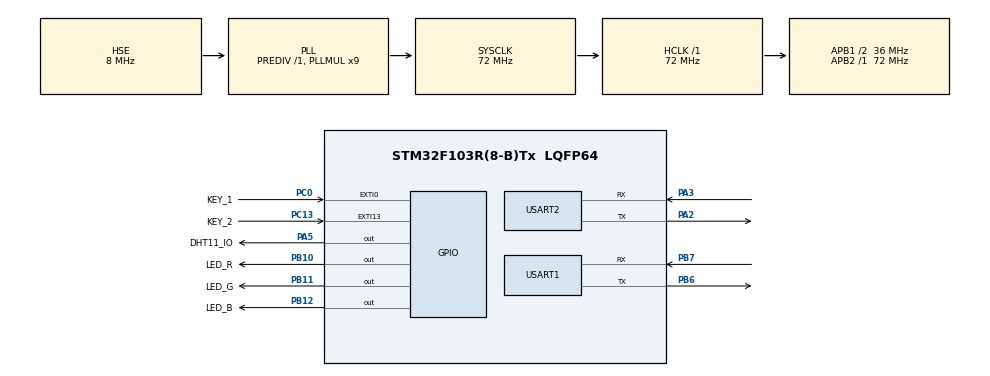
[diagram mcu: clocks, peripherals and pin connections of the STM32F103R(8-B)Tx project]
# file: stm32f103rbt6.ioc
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Mcu.Family=STM32F1
Mcu.Name=STM32F103R(8-B)Tx
Mcu.Package=LQFP64
NVIC.EXTI0_IRQn=true\:5\:0\:true\:false\:true\:true\:true\:true
NVIC.EXTI15_10_IRQn=true\:5\:0\:true\:false\:true\:true\:true\:true
NVIC.PriorityGroup=NVIC_PRIORITYGROUP_4
NVIC.USART2_IRQn=true\:3\:0\:true\:false\:true\:true\:true\:true
PA13.Mode=Serial_Wire
PA13.Signal=SYS_JTMS-SWDIO
PA14.Mode=Serial_Wire
PA14.Signal=SYS_JTCK-SWCLK
PA2.Mode=Asynchronous
PA2.Signal=USART2_TX
PA3.Mode=Asynchronous
PA3.Signal=USART2_RX
PA5.GPIO_Label=DHT11_IO
PA5.GPIO_PuPd=GPIO_PULLDOWN
PA5.GPIO_Speed=GPIO_SPEED_FREQ_HIGH
PA5.Signal=GPIO_Output
PB10.GPIO_Label=LED_R
PB10.GPIO_PuPd=GPIO_PULLUP
PB10.GPIO_Speed=GPIO_SPEED_FREQ_MEDIUM
PB10.PinState=GPIO_PIN_SET
PB10.Signal=GPIO_Output
PB11.GPIO_Label=LED_G
PB11.GPIO_PuPd=GPIO_PULLUP
PB11.GPIO_Speed=GPIO_SPEED_FREQ_MEDIUM
PB11.PinState=GPIO_PIN_SET
PB11.Signal=GPIO_Output
PB12.GPIO_Label=LED_B
PB12.GPIO_PuPd=GPIO_PULLUP
PB12.GPIO_Speed=GPIO_SPEED_FREQ_MEDIUM
PB12.PinState=GPIO_PIN_SET
PB12.Signal=GPIO_Output
PB6.Mode=Asynchronous
PB6.Signal=USART1_TX
PB7.Mode=Asynchronous
PB7.Signal=USART1_RX
PC0.GPIO_Label=KEY_1
PC0.GPIO_PuPd=GPIO_PULLDOWN
PC0.Signal=GPXTI0
PC13-TAMPER-RTC.GPIO_Label=KEY_2
PC13-TAMPER-RTC.GPIO_PuPd=GPIO_PULLDOWN
PC13-TAMPER-RTC.Signal=GPXTI13
PD0-OSC_IN.Mode=HSE-External-Oscillator
PD0-OSC_IN.Signal=RCC_OSC_IN
PD1-OSC_OUT.Mode=HSE-External-Oscillator
PD1-OSC_OUT.Signal=RCC_OSC_OUT
ProjectManager.HeapSize=0x200
ProjectManager.StackSize=0x400
ProjectManager.TargetToolchain=STM32CubeIDE
RCC.AHBFreq_Value=72000000
RCC.APB1CLKDivider=RCC_HCLK_DIV2
RCC.APB1Freq_Value=36000000
RCC.APB1TimFreq_Value=72000000
RCC.APB2Freq_Value=72000000
RCC.APB2TimFreq_Value=72000000
RCC.HCLKFreq_Value=72000000
RCC.PLLMUL=RCC_PLL_MUL9
RCC.PLLSourceVirtual=RCC_PLLSOURCE_HSE
RCC.SYSCLKFreq_VALUE=72000000
RCC.SYSCLKSource=RCC_SYSCLKSOURCE_PLLCLK
RCC.USBFreq_Value=72000000
TIM1.Prescaler=719
USART1.VirtualMode=VM_ASYNC
USART2.VirtualMode=VM_ASYNC
VP_TIM1_VS_ClockSourceINT.Mode=Internal
board=custom

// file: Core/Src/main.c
/* USER CODE BEGIN Header */
/**
  ******************************************************************************
  * @file           : main.c
  * @brief          : Main program body
  ******************************************************************************
  * @attention
  *
  * Copyright (c) 2022 STMicroelectronics.
  * All rights reserved.
  *
  * This software is licensed under terms that can be found in the LICENSE file
  * in the root directory of this software component.
  * If no LICENSE file comes with this software, it is provided AS-IS.
  *
  ******************************************************************************
  */
/* USER CODE END Header */
#include "main.h"
#include "tim.h"
#include "usart.h"
#include "gpio.h"

/* USER CODE BEGIN Includes */
#include "hal_temp_hum.h"
#include "esp8266_at.h"
#include "esp8266_mqtt.h"
#include <stdio.h>
/* USER CODE END Includes */

/* USER CODE BEGIN PD */
#define USER_MAIN_DEBUG

#ifdef USER_MAIN_DEBUG
#define user_main_printf(format, ...) printf( format "\r\n",##__VA_ARGS__)
#define user_main_info(format, ...) printf("【main】info:" format "\r\n",##__VA_ARGS__)
#define user_main_debug(format, ...) printf("【main】debug:" format "\r\n",##__VA_ARGS__)
#define user_main_error(format, ...) printf("【main】error:" format "\r\n",##__VA_ARGS__)
#else
#define user_main_printf(format, ...)
#define user_main_info(format, ...)
#define user_main_debug(format, ...)
#define user_main_error(format, ...)
#endif

//НАСТРОЙКИ В СООТВЕТСТВИИ С ВАШИМ WIFI
#define WIFI_NAME "HappyOneDay"
#define WIFI_PASSWD "1234567890"

//КОНИФГУРАЦИЯ ВХОДА В ОБЛАЧНЫЙ СЕРВЕР
#define MQTT_BROKERADDRESS "a1lAoazdH1w.iot-as-mqtt.cn-shanghai.aliyuncs.com"
#define MQTT_CLIENTID "00001|securemode=3,signmethod=hmacsha1|"
#define MQTT_USARNAME "BZL01&a1lAoazdH1w"
#define MQTT_PASSWD "51A5BB10306E976D6C980F73037F2D9496D2813A"
#define	MQTT_PUBLISH_TOPIC "/sys/a1lAoazdH1w/BZL01/thing/event/property/post"
#define MQTT_SUBSCRIBE_TOPIC "/sys/a1lAoazdH1w/BZL01/thing/service/property/set"

//ОПРЕДЕЛЕНИЕ МАКРОСА ЗАДЕРЖКИ ДЛЯ ОПЕРАЦИИ ОСНОВНОГО ЦИКЛА
#define LOOPTIME 30 	//ПРОГРАММНЫЙ ЦИКЛ ВРЕМЯ ЗАДЕРЖКИ：30ms
#define COUNTER_LEDBLINK			(300/LOOPTIME)		//ВРЕМЯ РАБОТЫ СВЕТОДИОДА, ВРЕМЯ МИГАНИЯ：300ms
#define COUNTER_RUNINFOSEND		(5000/LOOPTIME)		//ЗАПРОС НА ЗАПУСК ПОСЛЕДОВАТЕЛЬНОГО ПОРТА：5s
#define COUNTER_MQTTHEART     (5000/LOOPTIME)		//MQTT ОТПРАВКА ПАКЕТА ПРОВЕРКИ：5s
#define COUNTER_STATUSREPORT	(3000/LOOPTIME)		//ЗАГРУЗКА СТАТУСА：3s
/* USER CODE END PD */

/* USER CODE BEGIN PV */
char mqtt_message[300];	//КЭШ СООБЩЕНИЙ ОТЧЕТА MQTT
/* USER CODE END PV */

void SystemClock_Config(void);
/* USER CODE BEGIN PFP */
void Enter_ErrorMode(uint8_t mode);
void ES8266_MQTT_Init(void);
void Change_LED_Status(void);
void STM32DHT11_StatusReport(void);
void deal_MQTT_message(uint8_t* buf,uint16_t len);
/* USER CODE END PFP */

int main(void)
{

  /* MCU Configuration--------------------------------------------------------*/

  /* Reset of all peripherals, Initializes the Flash interface and the Systick. */
  HAL_Init();

  /* Configure the system clock */
  SystemClock_Config();

  /* Initialize all configured peripherals */
  MX_GPIO_Init();
  MX_USART1_UART_Init();
  MX_USART2_UART_Init();
  MX_TIM1_Init();
  /* USER CODE BEGIN 2 */
	HAL_UART_Receive_IT(&huart2,usart2_rxone,1);			//ОТКРОЙТЕ ПРЕРЫВАНИЙ USART1 И ПОЛУЧИТЕ СООБЩЕНИЕ О ПОДПИСКЕ
	ES8266_MQTT_Init();										//ИНИЦИАЛИЗИРОВАТЬ MQTT
  /* USER CODE END 2 */

  /* Infinite loop */
  /* USER CODE BEGIN WHILE */
	uint16_t Counter_RUNInfo_Send = 0;
	uint16_t Counter_StatusReport = 0;
  while (1)
  {
    /* USER CODE END WHILE */

    /* USER CODE BEGIN 3 */
	  //ПЕЧАТЬ ТЕКУЩЕГО СОСТОЯНИЯ
	  		if(Counter_RUNInfo_Send++>COUNTER_RUNINFOSEND)
	  		{
	  			Counter_RUNInfo_Send = 0;
	  			user_main_info("ПРОГРАММА ЗАПУЩЕНА！\r\n");
	  		}
	  		//ОТЧЕТ О МЕСТНОМ СТАТУСЕ
	  			if(Counter_StatusReport++>COUNTER_STATUSREPORT)
	  			{
	  				Counter_StatusReport = 0;
	  				STM32DHT11_StatusReport();
	  			}

	  			//ЕСЛИ В ПРИНИМАЮЩЕМ КЭШЕ ЕСТЬ ДАННЫЕ
	  			if(usart2_rxcounter)
	  			{
	  				deal_MQTT_message(usart2_rxbuf,usart2_rxcounter);
	  			}

	  			HAL_Delay(LOOPTIME);

  }
  /* USER CODE END 3 */
}

void SystemClock_Config(void)
{
  RCC_OscInitTypeDef RCC_OscInitStruct = {0};
  RCC_ClkInitTypeDef RCC_ClkInitStruct = {0};

  /** Initializes the RCC Oscillators according to the specified parameters
  * in the RCC_OscInitTypeDef structure.
  */
  RCC_OscInitStruct.OscillatorType = RCC_OSCILLATORTYPE_HSE;
  RCC_OscInitStruct.HSEState = RCC_HSE_ON;
  RCC_OscInitStruct.HSEPredivValue = RCC_HSE_PREDIV_DIV1;
  RCC_OscInitStruct.HSIState = RCC_HSI_ON;
  RCC_OscInitStruct.PLL.PLLState = RCC_PLL_ON;
  RCC_OscInitStruct.PLL.PLLSource = RCC_PLLSOURCE_HSE;
  RCC_OscInitStruct.PLL.PLLMUL = RCC_PLL_MUL9;
  if (HAL_RCC_OscConfig(&RCC_OscInitStruct) != HAL_OK)
  {
    Error_Handler();
  }

  /** Initializes the CPU, AHB and APB buses clocks
  */
  RCC_ClkInitStruct.ClockType = RCC_CLOCKTYPE_HCLK|RCC_CLOCKTYPE_SYSCLK
                              |RCC_CLOCKTYPE_PCLK1|RCC_CLOCKTYPE_PCLK2;
  RCC_ClkInitStruct.SYSCLKSource = RCC_SYSCLKSOURCE_PLLCLK;
  RCC_ClkInitStruct.AHBCLKDivider = RCC_SYSCLK_DIV1;
  RCC_ClkInitStruct.APB1CLKDivider = RCC_HCLK_DIV2;
  RCC_ClkInitStruct.APB2CLKDivider = RCC_HCLK_DIV1;

  if (HAL_RCC_ClockConfig(&RCC_ClkInitStruct, FLASH_LATENCY_2) != HAL_OK)
  {
    Error_Handler();
  }
}

/* USER CODE BEGIN 4 */
/******************************  USART2 ПОЛУЧАЕТ КОД ПРЕРЫВАНИЯ  *****************************/

// ПОСЛЕДОВАТЕЛЬНЫЙ ПОРТ ДРАЙВЕРА ESP8266 ПОЛУЧАЕТ ФУНКЦИЮ ОБРАБОТКИ ПРЕРЫВАНИЙ
void HAL_UART_RxCpltCallback(UART_HandleTypeDef *huart)
{
	if(huart->Instance == USART2)	// ОПРЕДЕЛЕНИЕ, КАКОЙ ПОСЛЕДОВАТЕЛЬНЫЙ ПОРТ ВЫЗВАЛ ПРЕРЫВАНИЕ
	{
		//ПОМЕСТИТЬ ПОЛУЧЕННЫЕ ДАННЫЕ В ПРИНИМАЮЩИЙ МАССИВ USART1 RECEIVING
		usart2_rxbuf[usart2_rxcounter] = usart2_rxone[0];
		usart2_rxcounter++;	//ПОЛУЧЕННОЕ КОЛИЧЕСТВО＋1

		//ПОВТОРНОЕ ВКЛЮЧЕНИЕ ПОСЛЕДОВАТЕЛЬНОГО ПОРТА 1 ДЛЯ ПРИЕМА ПРЕРЫВАНИЙ
		HAL_UART_Receive_IT(&huart2,usart2_rxone,1);
	}
}

/******************************  КЛЮЧЕВОЙ КОД ПРЕРЫВАНИЙ  *****************************/

//КЛАВИША 1, НАЖМИТЕ, ЧТОБЫ ВЫПОЛНИТЬ ФУНКЦИЮ
void KEY1_Pressed(void)
{
	user_main_debug("НАЖАТИЕ KEY_1\r\n");
	Change_LED_Status();
}

//КЛАВИША 2, НАЖМИТЕ, ЧТОБЫ ВЫПОЛНИТЬ ФУНКЦИЮ
void KEY2_Pressed(void)
{
	user_main_debug("НАЖАТИЕ KEY_2\r\n");
}

//КЛЮЧЕВАЯ ФУНКЦИЯ ОБРАБОТКИ ПРЕРЫВАНИЙ
void HAL_GPIO_EXTI_Callback(uint16_t GPIO_Pin)
{
    switch(GPIO_Pin)
    {
        case KEY_1_Pin:KEY1_Pressed();break;
        case KEY_2_Pin:KEY2_Pressed();break;
        default:break;
    }
}

//ИЗМЕНЕНИЯ СОСТОЯНИЙ СВЕТОДИОДНОЙ ПОДСВЕТКИ
void Change_LED_Status(void)
{
	static uint8_t ledstatus = 0;

	switch(ledstatus++)
	{
		case 0://000
			HAL_GPIO_WritePin(LED_R_GPIO_Port,LED_R_Pin,GPIO_PIN_RESET);
			HAL_GPIO_WritePin(LED_G_GPIO_Port,LED_G_Pin,GPIO_PIN_RESET);
			HAL_GPIO_WritePin(LED_B_GPIO_Port,LED_B_Pin,GPIO_PIN_RESET);
		break;
		case 1://001
			HAL_GPIO_WritePin(LED_R_GPIO_Port,LED_R_Pin,GPIO_PIN_RESET);
			HAL_GPIO_WritePin(LED_G_GPIO_Port,LED_G_Pin,GPIO_PIN_RESET);
			HAL_GPIO_WritePin(LED_B_GPIO_Port,LED_B_Pin,GPIO_PIN_SET);
		break;
		case 2://010
			HAL_GPIO_WritePin(LED_R_GPIO_Port,LED_R_Pin,GPIO_PIN_RESET);
			HAL_GPIO_WritePin(LED_G_GPIO_Port,LED_G_Pin,GPIO_PIN_SET);
			HAL_GPIO_WritePin(LED_B_GPIO_Port,LED_B_Pin,GPIO_PIN_RESET);
		break;
		case 3://011
			HAL_GPIO_WritePin(LED_R_GPIO_Port,LED_R_Pin,GPIO_PIN_RESET);
			HAL_GPIO_WritePin(LED_G_GPIO_Port,LED_G_Pin,GPIO_PIN_SET);
			HAL_GPIO_WritePin(LED_B_GPIO_Port,LED_B_Pin,GPIO_PIN_SET);
		break;
		case 4://100
			HAL_GPIO_WritePin(LED_R_GPIO_Port,LED_R_Pin,GPIO_PIN_SET);
			HAL_GPIO_WritePin(LED_G_GPIO_Port,LED_G_Pin,GPIO_PIN_RESET);
			HAL_GPIO_WritePin(LED_B_GPIO_Port,LED_B_Pin,GPIO_PIN_RESET);
		break;
		case 5://101
			HAL_GPIO_WritePin(LED_R_GPIO_Port,LED_R_Pin,GPIO_PIN_SET);
			HAL_GPIO_WritePin(LED_G_GPIO_Port,LED_G_Pin,GPIO_PIN_RESET);
			HAL_GPIO_WritePin(LED_B_GPIO_Port,LED_B_Pin,GPIO_PIN_SET);
		break;
		case 6://110
			HAL_GPIO_WritePin(LED_R_GPIO_Port,LED_R_Pin,GPIO_PIN_SET);
			HAL_GPIO_WritePin(LED_G_GPIO_Port,LED_G_Pin,GPIO_PIN_SET);
			HAL_GPIO_WritePin(LED_B_GPIO_Port,LED_B_Pin,GPIO_PIN_RESET);
		break;
		case 7://111
			HAL_GPIO_WritePin(LED_R_GPIO_Port,LED_R_Pin,GPIO_PIN_SET);
			HAL_GPIO_WritePin(LED_G_GPIO_Port,LED_G_Pin,GPIO_PIN_SET);
			HAL_GPIO_WritePin(LED_B_GPIO_Port,LED_B_Pin,GPIO_PIN_SET);
		break;
		default:ledstatus=0;break;
	}
}

/******************************  КОД РЕЖИМА ОШИБКИ  *****************************/

//ВОЙДИТЕ В РЕЖИМ ОШИБКИ И ДОЖДИТЕСЬ РУЧНОГО ПЕРЕЗАПУЧКА
void Enter_ErrorMode(uint8_t mode)
{
	HAL_GPIO_WritePin(LED_G_GPIO_Port,LED_G_Pin,GPIO_PIN_SET);
	while(1)
	{
		switch(mode){
			case 0:user_main_error("ESP8266 СБОЙ ИНИЦИАЛИЗАЦИИ！\r\n");break;
			case 1:user_main_error("ESP8266 НЕ УДАЛОСЬ ПОДКЛЮЧИТСЯ К ТОЧКЕ ДОСТУПА！\r\n");break;
			case 2:user_main_error("ESP8266 НЕ УДАЛОСЬ ПОДКЛЮЧИТСЯ К ОБЛАЧНОМУ СЕРВЕРУ！\r\n");break;
			case 3:user_main_error("ESP8266 ОШИБКА ВХОДА В СИСТЕМУ MQTT！\r\n");break;
			case 4:user_main_error("ESP8266ОШИБКА В ТЕМЕ ПОДПИСКЕ MQTT！\r\n");break;
			default:user_main_info("НЕЧЕГО\r\n");break;
		}
		user_main_info("ПОЖАЛУЙСТА, ПЕРЕЗАПУСТИТЕ");
		//HAL_GPIO_TogglePin(LED_R_GPIO_Port,LED_R_Pin);
		HAL_Delay(200);
	}
}

/******************************  ТЕСТОВЫЙ КОД ПЕРЕФЕРИЙНЫХ УСТРОЙСТВ ПЛАТЫ РАЗРАБОТКИ  *****************************/

/* ФУНКЦИЯ ТЕСТИРОВАНИЕ ПОСЛЕДОВАТЕЛЬНОГО ПОРТА ОТЛАДКИ */
void TEST_usart1(void)
{
	user_main_debug("ТЕСТОВЫЙ КОД USART1！\n");
	HAL_Delay(1000);
}

/* ФУНКЦИЯ ТЕСТИРОВАНИЯ СВЕТОДИОДА */
void TEST_LED(void)
{
	//КРАСНЫЙ ИНДИКАТОР ГОРИТ ДРУГИЕ ВЫКЛЮЧЕНЫ
	HAL_GPIO_WritePin(LED_R_GPIO_Port,LED_R_Pin,GPIO_PIN_RESET);
	HAL_GPIO_WritePin(LED_G_GPIO_Port,LED_G_Pin,GPIO_PIN_SET);
	HAL_GPIO_WritePin(LED_B_GPIO_Port,LED_B_Pin,GPIO_PIN_SET);
	HAL_Delay(500);
	//ЗЕЛЕНЫЙ ИНДИКАТОР ГОРИТ ДРУГИЕ ВЫКЛЮЧЕНЫ
	HAL_GPIO_WritePin(LED_R_GPIO_Port,LED_R_Pin,GPIO_PIN_SET);
	HAL_GPIO_WritePin(LED_G_GPIO_Port,LED_G_Pin,GPIO_PIN_RESET);
	HAL_GPIO_WritePin(LED_B_GPIO_Port,LED_B_Pin,GPIO_PIN_SET);
	HAL_Delay(500);
	//СИНИЙ ИНДИКАТОР ГОРИТ ДРУГИЕ ВЫКЛЮЧЕНЫ
	HAL_GPIO_WritePin(LED_R_GPIO_Port,LED_R_Pin,GPIO_PIN_SET);
	HAL_GPIO_WritePin(LED_G_GPIO_Port,LED_G_Pin,GPIO_PIN_SET);
	HAL_GPIO_WritePin(LED_B_GPIO_Port,LED_B_Pin,GPIO_PIN_RESET);
	HAL_Delay(500);
}

/* ФУНКЦИЯ ПРОВЕРКИ ЗАДЕРЖКИ */
void TEST_delayus(void)
{
	static uint16_t tim1_test;

	//ЗАДЕРЖКА 1 МС
	for(tim1_test = 0;tim1_test<1000;tim1_test++)
	{
		//ЗАДЕРЖКА 1 МС
		TIM1_Delay_us(1000);
	}
	user_main_debug("ТЕСТОВЫЙ КОД ЗАДЕРЖКИ В 1 СЕКУНДУ!\n");
}

/* ФУНКЦИЯ ТЕСТИРОВАНИЕ ДАТЧИКА ТЕМПЕРАТУРЫ И ВЛАЖНОСТИ DHT11 */
void TEST_DHT11(void)
{
	uint8_t temperature;
	uint8_t humidity;
	uint8_t get_times;

	// ПОЛУЧЕНИЕ ИНФОРМАЦИИ О ТЕМПЕРАТУРЕ И ВЛАЖНОСТИ И РАСПЕЧАТАТЬ ЕЕ С ПОМОЩЬЮ ПОСЛЕДОВАТЕЛЬНОГО ПОРТА, ПОЛУЧИТЬ ЕЕ ДЕСЯТЬ РАЗ,ПОКА ОНА УСПЕШНО НЕ ВЫСКОЧИТ
	for(get_times=0;get_times<10;get_times++)
	{
		if(!dht11Read(&temperature, &humidity))//Read DHT11 Value
		{
				user_main_info("temperature=%d,humidity=%d \n",temperature,humidity);
				break;
		}
	}
}

/* ТЕСТОВЫЙ КОД ESP8266 И MQTT */
void TEST_ES8266MQTT(void)
{
	uint8_t status=0;

	//ИНИЦИАЛИЗИРОВАНИЕ
	if(ESP8266_Init())
	{
		user_main_info("ИНИЦИАЛИЗАЦИЯ ESP8266 ПРОШЛА УСПЕШНО！\r\n");
		status++;
	}
	else Enter_ErrorMode(0);

	//ПОДКЛЮЧЕНИЕ К ТОЧКАМ ДОСТУПАМ
	if(status==1)
	{
		if(ESP8266_ConnectAP(WIFI_NAME,WIFI_PASSWD))
		{
			user_main_info("ESP8266 УСПЕШНО ПОДКЛЮЧИЛСЯ К ТОЧКЕ ДОСТУПА！\r\n");
			status++;
		}
		else Enter_ErrorMode(1);
	}

	//ПОДЛКЮЧЕНИЕ К ОБЛАЧНОМУ СЕРВЕРУ
	if(status==2)
	{
		if(ESP8266_ConnectServer("TCP",MQTT_BROKERADDRESS,1883)!=0)
		{
			user_main_info("ESP8266УСПЕШНО ПОДКЛЮЧИЛСЯ К ОБЛАЧНОМУ СЕРВЕРУ！\r\n");
			status++;
		}
		else Enter_ErrorMode(2);
	}

	//ВХОД В MQTT
	if(status==3)
	{
		if(MQTT_Connect(MQTT_CLIENTID, MQTT_USARNAME, MQTT_PASSWD) != 0)
		{
			user_main_info("ESP8266 ОБЛАЧНЫЙ СЕРВЕР MQTT УСПЕШНО ВОШЕЛ В СИСТЕМУ！\r\n");
			status++;
		}
		else Enter_ErrorMode(3);
	}

	//ПОДПИСКА НА ТЕМЫ
	if(status==4)
	{
		if(MQTT_SubscribeTopic(MQTT_SUBSCRIBE_TOPIC,0,1) != 0)
		{
			user_main_info("ESP8266 ОБЛАЧНЫЙ СЕРВЕР MQTT УСПЕШНО ПОДПИСАЛСЯ НА ЭТУ ТЕМУ！\r\n");
		}
		else Enter_ErrorMode(4);
	}
}

/******************************  STM32 MQTT КОД  *****************************/

//ФУНКЦИЯ ИНИЦИАЛИЗАЦИИ MQTT
void ES8266_MQTT_Init(void)
{
	uint8_t status=0;

	//ИНИЦИАЛИЗАЦИЯ
	if(ESP8266_Init())
	{
		user_main_info("ESP8266 ИНЦИАЛИЗАЦИЯ ПРОШЛА УСПЕШНО！\r\n");
		status++;
	}
	else Enter_ErrorMode(0);

	//ПОДЛКЮЧЕНИЕ К ТОЧКЕ ДОСТУПА
	if(status==1)
	{
		if(ESP8266_ConnectAP(WIFI_NAME,WIFI_PASSWD))
		{
			user_main_info("ESP8266УСПЕШНО ПОДКЛЮЧИЛСЯ К ТОЧКЕ ДОСТУПА！\r\n");
			status++;
		}
		else Enter_ErrorMode(1);
	}

	//ПОДКЛЮЧЕНИЕ К ОБЛАЧНОМУ СЕРВЕРУ
	if(status==2)
	{
		if(ESP8266_ConnectServer("TCP",MQTT_BROKERADDRESS,1883)!=0)
		{
			user_main_info("ESP8266УСПЕШНОЕ ПОДКЛЮЧЕНИЕ К ОБЛАЧНОМУ СЕРВЕРУ！\r\n");
			status++;
		}
		else Enter_ErrorMode(2);
	}

	//ВХОД В MQTT
	if(status==3)
	{
		if(MQTT_Connect(MQTT_CLIENTID, MQTT_USARNAME, MQTT_PASSWD) != 0)
		{
			user_main_info("ESP8266 ОБЛАЧНЫЙ СЕРВЕР MQTT УСПЕШОН ВОШЕЛ В СИСТЕМУ！\r\n");
			status++;
		}
		else Enter_ErrorMode(3);
	}

	//ПОДПИСКА НА ТЕМЫ
	if(status==4)
	{
		if(MQTT_SubscribeTopic(MQTT_SUBSCRIBE_TOPIC,0,1) != 0)
		{
			user_main_info("ESP8266 ОБЛАЧНЫЙ СЕРВЕР УСПЕШНО ПОДПИСАЛСЯ НА ЭТУ ТЕМУ！\r\n");
		}
		else Enter_ErrorMode(4);
	}
}

//ОТЧЕТ О СОСТОЯНИИ MCU
void STM32DHT11_StatusReport(void)
{
	//ПОЛУЧЕНИЕ ИНФОРМАЦИИ О ТЕМПЕРАТУРЕ И ВЛАЖНОСТИ
	uint8_t temperature;
	uint8_t humidity;
	uint8_t get_times;

	// 获ПОЛУЧЕНИЕ ИНФОРМАЦИИ О ТЕМПЕРАТУРЕ И ВЛАЖНОСТИ И РАСПЕЧАТАТЬ ЕЕ С ПОМОЩЬЮ ПОСЛЕДОВАТЕЛЬНОГО ПОРТА, ПОЛУЧИТЬ ЕЕ ДЕСЯТЬ РАЗ,ПОКА ОНА УСПЕШНО НЕ ВЫСКОЧИТ
	for(get_times=0;get_times<10;get_times++)
	{
		if(!dht11Read(&temperature, &humidity))//Read DHT11 Value
		{
			user_main_info("temperature=%d,humidity=%d \n",temperature,humidity);
			break;
		}
	}

	//ОТЧЕТ О ДАННЫХ ОДИН РАЗ
	MQTT_PublishData(MQTT_PUBLISH_TOPIC,mqtt_message,0);
}

char temp_str[30];    // ВРЕМЕННАЯ ПОДСТРОКА
void ReadStrUnit(char * str,char *temp_str,int idx,int len)  // ПОЛУЧЕНИЕ ВРЕМЕННОЙ ВЛОЖЕННОЙ СТРОКИ, РАВНУЮ ДЛИНЕ ВЛОЖЕННОЙ СТРОКИ ИЗ РОДИТЕЛЬСКОЙ СТРОКИ
{
    int index;
    for(index = 0; index < len; index++)
    {
        temp_str[index] = str[idx+index];
    }
    temp_str[index] = '\0';
}
int GetSubStrPos(char *str1,char *str2)
{
    int idx = 0;
    int len1 = strlen(str1);
    int len2 = strlen(str2);

    if( len1 < len2)
    {
        //printf("error 1 \n"); // ДОЧЕРНЯЯ СТРОКА ДЛИННЕЕ РОДИТЕЛЬСКОЙ СТРОКИ
        return -1;
    }

    while(1)
    {
        ReadStrUnit(str1,temp_str,idx,len2);    // НЕПРЕРЫВНО ПОЛУЧАТЬ ОБНОВЛЕНИЕ ВРЕМЕННОЙ ВЛОЖЕННОЙ СТРОКИ ИЗ ПОЗИЦИИ IDX РОДИТЕЛЬСКОЙ СТРОКИ
        if(strcmp(str2,temp_str)==0)break;      // ЕСЛИ ВРЕМЕННАЯ ПОДСТРОКА И ПОДСТРОКА СОВПАДАЮТ, ЦИКЛ ЗАВЕРШАЕТСЯ
        idx++;                                  // ИЗМЕНЕНИЕ ПОЛОЖЕНИЯ ВЗЯТИЕ ВРЕМЕННЫХ ВЛОЖЕННЫХ СТРОК ИЗ РОДИТЕЛЬСКОЙ СТРОКИ
        if(idx>=len1)return -1;                 // ЕСЛИ IDX ПРЕВЫСИЛ ДЛИНУ ВНУТРЕННЕЙ СТРОКИ, ВНУТРЕННЯЯ СТРОКА НЕ СОДЕРЖИТЬ ДОЧЕРНЕЙ СТРОКИ
    }

    return idx;    // ВОЗВРАЩАЕТ ПОЗИЦИЮ ПЕРВОГО СИМВОЛА ВЛОЖЕННОЙ СТРОКИ В РОДИТЕЛЬСКОЙ СТРОКЕ
}

//ОБРАБАТЫВАТЬ СООБЩЕНИЯ, ОТПРАВЛЕННЫЕ MQTT
void deal_MQTT_message(uint8_t* buf,uint16_t len)
{
	uint8_t data[512];
	uint16_t data_len = len;
	for(int i=0;i<data_len;i++)
	{
		data[i] = buf[i];
		HAL_UART_Transmit(&huart1,&data[i],1,100);
	}
	memset(usart2_rxbuf,0,sizeof(usart2_rxbuf)); //ОЧИСТИТЬ БУФЕР ПРИЕМА
	usart2_rxcounter=0;
	//user_main_info("MQTT ПОЛУЧИЛ СООБЩЕНИЕ, ДЛИНА ДАННЫХ=%d \n",data_len);

	//УЗНАЙТЕ ВКЛЮЧЕН ЛИ КРАСНЫЙ ИНДИКАТОР
	int i = GetSubStrPos((char*)data,"LEDR");
	if( i>0 )
	{
		uint8_t ledr_status = data[i+6]-'0';
		HAL_GPIO_WritePin(LED_R_GPIO_Port,LED_R_Pin,GPIO_PIN_SET);
		HAL_GPIO_WritePin(LED_G_GPIO_Port,LED_G_Pin,GPIO_PIN_SET);
		HAL_GPIO_WritePin(LED_B_GPIO_Port,LED_B_Pin,GPIO_PIN_SET);
		if(ledr_status)
			HAL_GPIO_WritePin(LED_R_GPIO_Port,LED_R_Pin,GPIO_PIN_RESET);
		else
			HAL_GPIO_WritePin(LED_R_GPIO_Port,LED_R_Pin,GPIO_PIN_SET);
	}

	//УЗНАЙТЕ ВКЛЮЧЕН ЛИ ЗЕЛЕНЫЙ ИНДИКАТОР
	i = GetSubStrPos((char*)data,"LEDG");
	if( i>0 )
	{
		uint8_t ledr_status = data[i+6]-'0';
		HAL_GPIO_WritePin(LED_R_GPIO_Port,LED_R_Pin,GPIO_PIN_SET);
		HAL_GPIO_WritePin(LED_G_GPIO_Port,LED_G_Pin,GPIO_PIN_SET);
		HAL_GPIO_WritePin(LED_B_GPIO_Port,LED_B_Pin,GPIO_PIN_SET);
		if(ledr_status)
			HAL_GPIO_WritePin(LED_G_GPIO_Port,LED_G_Pin,GPIO_PIN_RESET);
		else
			HAL_GPIO_WritePin(LED_G_GPIO_Port,LED_G_Pin,GPIO_PIN_SET);
	}

	//УЗНАЙТЕ ВКЛЮЧЕН ЛИ СИНИЙ ИНДИКАТОР
	i = GetSubStrPos((char*)data,"LEDB");
	if( i>0 )
	{
		uint8_t ledr_status = data[i+6]-'0';
		HAL_GPIO_WritePin(LED_R_GPIO_Port,LED_R_Pin,GPIO_PIN_SET);
		HAL_GPIO_WritePin(LED_G_GPIO_Port,LED_G_Pin,GPIO_PIN_SET);
		HAL_GPIO_WritePin(LED_B_GPIO_Port,LED_B_Pin,GPIO_PIN_SET);
		if(ledr_status)
			HAL_GPIO_WritePin(LED_B_GPIO_Port,LED_B_Pin,GPIO_PIN_RESET);
		else
			HAL_GPIO_WritePin(LED_B_GPIO_Port,LED_B_Pin,GPIO_PIN_SET);
	}

}
/* USER CODE END 4 */

void Error_Handler(void)
{
  __disable_irq();
  while (1)
  {
  }
}
